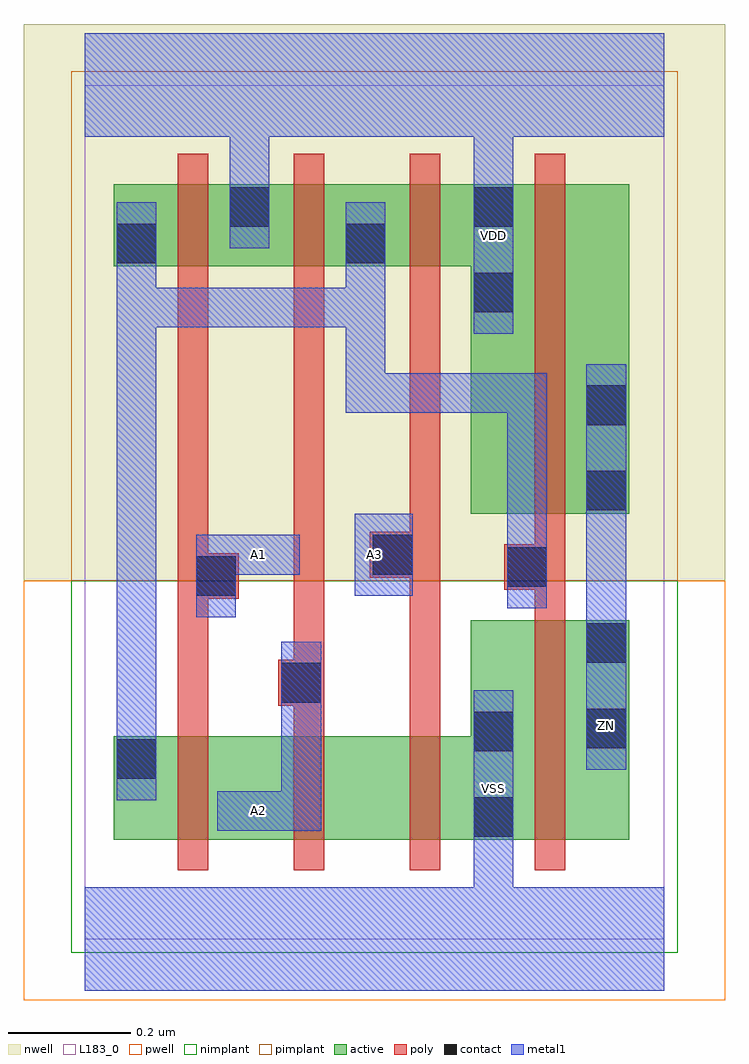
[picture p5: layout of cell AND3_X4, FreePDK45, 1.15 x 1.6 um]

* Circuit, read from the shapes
.subckt AND3_X4 A1 A2 A3 VDD VSS ZN
M1 n1 A1 n2 VSUBS nfet w=0.17u l=0.05u
M2 n3 A2 n1 VSUBS nfet w=0.17u l=0.05u
M3 VSS A3 n3 VSUBS nfet w=0.17u l=0.05u
M4 ZN n2 VSS VSUBS nfet w=0.36u l=0.05u
M5 VDD A1 n2 n4 pfet w=0.135u l=0.05u
M6 n2 A2 VDD n4 pfet w=0.135u l=0.05u
M7 VDD A3 n2 n4 pfet w=0.135u l=0.05u
M8 ZN n2 VDD n4 pfet w=0.54u l=0.05u
.ends

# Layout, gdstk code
import gdstk
lib = gdstk.Library(unit=1e-6, precision=1e-10)
def R(c, l, rs):  # rectangles x0, y0, x1, y1
    for r in rs: c.add(gdstk.rectangle(r[:2], r[2:], *l))
def P(c, l, *ps):  # polygons
    for p in ps: c.add(gdstk.Polygon(p, *l))
active = (1, 0)
pwell = (2, 0)
nwell = (3, 0)
nimplant = (4, 0)
pimplant = (5, 0)
poly = (9, 0)
contact = (10, 0)
metal1 = (11, 0)
L183_0 = (183, 0)

and3_x4 = lib.new_cell('AND3_X4')
P(and3_x4, active, [(0.0475,0.1625),(0.1525,0.1625),(0.2025,0.1625),(0.3425,0.1625),(0.3925,0.1625),(0.5325,0.1625),(0.5825,0.1625),(0.7375,0.1625),(0.7875,0.1625),(0.8925,0.1625),(0.8925,0.5225),(0.7875,0.5225),(0.7375,0.5225),(0.6325,0.5225),(0.6325,0.3325),(0.5825,0.3325),(0.5325,0.3325),(0.3925,0.3325),(0.3425,0.3325),(0.2025,0.3325),(0.1525,0.3325),(0.0475,0.3325)],
  [(0.0475,1.1025),(0.1525,1.1025),(0.2025,1.1025),(0.3425,1.1025),(0.3925,1.1025),(0.5325,1.1025),(0.5825,1.1025),(0.6325,1.1025),(0.6325,0.6975),(0.7375,0.6975),(0.7875,0.6975),(0.8925,0.6975),(0.8925,1.2375),(0.7875,1.2375),(0.7375,1.2375),(0.5825,1.2375),(0.5325,1.2375),(0.3925,1.2375),(0.3425,1.2375),(0.2025,1.2375),(0.1525,1.2375),(0.0475,1.2375)])
P(and3_x4, pwell, [(-0.1,-0.1),(1.05,-0.1),(1.05,0.5875),(0.85,0.5875),(0.1,0.5875),(-0.1,0.5875)])
P(and3_x4, nwell, [(-0.1,0.5875),(0.1,0.5875),(0.85,0.5875),(1.05,0.5875),(1.05,1.5),(-0.1,1.5)])
R(and3_x4, nimplant, [(-0.0225,-0.0225,0.9725,0.5875)])
R(and3_x4, pimplant, [(-0.0225,0.5875,0.9725,1.4225)])
P(and3_x4, poly, [(0.1525,0.1125),(0.2025,0.1125),(0.2025,0.1625),(0.2025,0.3325),(0.2025,0.5575),(0.2525,0.5575),(0.2525,0.6325),(0.2025,0.6325),(0.2025,1.1025),(0.2025,1.2375),(0.2025,1.2875),(0.1525,1.2875),(0.1525,1.2375),(0.1525,1.1025),(0.1525,0.3325),(0.1525,0.1625)],
  [(0.3175,0.3825),(0.3425,0.3825),(0.3425,0.3325),(0.3425,0.1625),(0.3425,0.1125),(0.3925,0.1125),(0.3925,0.1625),(0.3925,0.3325),(0.3925,1.1025),(0.3925,1.2375),(0.3925,1.2875),(0.3425,1.2875),(0.3425,1.2375),(0.3425,1.1025),(0.3425,0.4575),(0.3175,0.4575)],
  [(0.4675,0.5925),(0.5325,0.5925),(0.5325,0.3325),(0.5325,0.1625),(0.5325,0.1125),(0.5825,0.1125),(0.5825,0.1625),(0.5825,0.3325),(0.5825,1.1025),(0.5825,1.2375),(0.5825,1.2875),(0.5325,1.2875),(0.5325,1.2375),(0.5325,1.1025),(0.5325,0.6675),(0.4675,0.6675)],
  [(0.6875,0.5725),(0.7375,0.5725),(0.7375,0.5225),(0.7375,0.1625),(0.7375,0.1125),(0.7875,0.1125),(0.7875,0.1625),(0.7875,0.5225),(0.7875,0.6975),(0.7875,1.2375),(0.7875,1.2875),(0.7375,1.2875),(0.7375,1.2375),(0.7375,0.6975),(0.7375,0.6475),(0.6875,0.6475)])
R(and3_x4, contact, [(0.6375,0.1675,0.7025,0.2325), (0.0525,0.2625,0.1175,0.3275), (0.6375,0.3075,0.7025,0.3725), (0.8225,0.3125,0.8875,0.3775), (0.3225,0.3875,0.3875,0.4525), (0.8225,0.4525,0.8875,0.5175), (0.1825,0.5625,0.2475,0.6275), (0.6925,0.5775,0.7575,0.6425), (0.4725,0.5975,0.5375,0.6625), (0.8225,0.7025,0.8875,0.7675), (0.8225,0.8425,0.8875,0.9075), (0.6375,1.0275,0.7025,1.0925), (0.0525,1.1075,0.1175,1.1725), (0.4275,1.1075,0.4925,1.1725), (0.2375,1.1675,0.3025,1.2325), (0.6375,1.1675,0.7025,1.2325)])
R(and3_x4, metal1, [(0.8225,0.2775,0.8875,0.9425), (0.4425,0.5625,0.5375,0.6975)])
P(and3_x4, metal1, [(0.0525,0.2275),(0.1175,0.2275),(0.1175,1.0025),(0.4275,1.0025),(0.4275,0.8625),(0.6925,0.8625),(0.6925,0.5425),(0.7575,0.5425),(0.7575,0.9275),(0.4925,0.9275),(0.4925,1.2075),(0.4275,1.2075),(0.4275,1.0675),(0.1175,1.0675),(0.1175,1.2075),(0.0525,1.2075)],
  [(0,-0.085),(0.95,-0.085),(0.95,0.085),(0.7025,0.085),(0.7025,0.4075),(0.6375,0.4075),(0.6375,0.085),(0,0.085)],
  [(0,1.315),(0.2375,1.315),(0.2375,1.1325),(0.3025,1.1325),(0.3025,1.315),(0.6375,1.315),(0.6375,0.9925),(0.7025,0.9925),(0.7025,1.315),(0.95,1.315),(0.95,1.485),(0,1.485)],
  [(0.1825,0.5275),(0.2475,0.5275),(0.2475,0.5975),(0.3525,0.5975),(0.3525,0.6625),(0.1825,0.6625)],
  [(0.2175,0.1775),(0.3875,0.1775),(0.3875,0.4875),(0.3225,0.4875),(0.3225,0.2425),(0.2175,0.2425)])
R(and3_x4, L183_0, [(0,0,0.95,1.4)])
and3_x4.add(gdstk.Label('A1', (0.285,0.63), layer=11, texttype=0))
and3_x4.add(gdstk.Label('A2', (0.285,0.21), layer=11, texttype=0))
and3_x4.add(gdstk.Label('A3', (0.475,0.63), layer=11, texttype=0))
and3_x4.add(gdstk.Label('VDD', (0.67,1.1537), layer=11, texttype=0))
and3_x4.add(gdstk.Label('VSS', (0.67,0.2462), layer=11, texttype=0))
and3_x4.add(gdstk.Label('ZN', (0.855,0.35), layer=11, texttype=0))

lib.write_gds('AND3_X4.gds')
